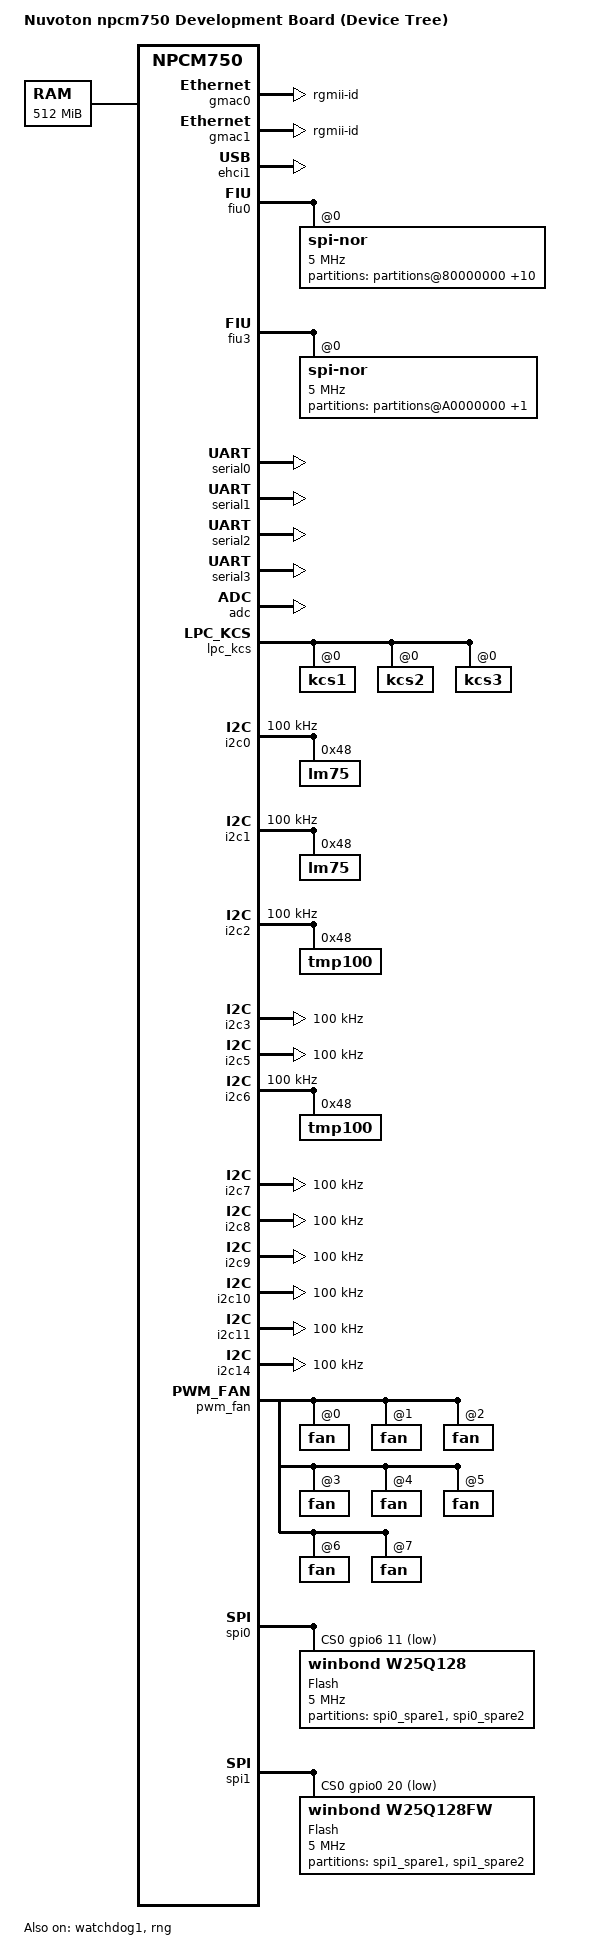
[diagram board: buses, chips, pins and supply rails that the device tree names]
// SPDX-License-Identifier: GPL-2.0
// Copyright (c) 2018 Nuvoton Technology tomer.maimon@nuvoton.com
// Copyright 2018 Google, Inc.

/dts-v1/;
#include "nuvoton-npcm750.dtsi"
#include "dt-bindings/gpio/gpio.h"
#include "nuvoton-npcm750-pincfg-evb.dtsi"

/ {
	model = "Nuvoton npcm750 Development Board (Device Tree)";
	compatible = "nuvoton,npcm750";

	aliases {
		ethernet2 = &gmac0;
		ethernet3 = &gmac1;
		serial0 = &serial0;
		serial1 = &serial1;
		serial2 = &serial2;
		serial3 = &serial3;
		i2c0 = &i2c0;
		i2c1 = &i2c1;
		i2c2 = &i2c2;
		i2c3 = &i2c3;
		i2c4 = &i2c4;
		i2c5 = &i2c5;
		i2c6 = &i2c6;
		i2c7 = &i2c7;
		i2c8 = &i2c8;
		i2c9 = &i2c9;
		i2c10 = &i2c10;
		i2c11 = &i2c11;
		i2c12 = &i2c12;
		i2c13 = &i2c13;
		i2c14 = &i2c14;
		i2c15 = &i2c15;
		spi0 = &spi0;
		spi1 = &spi1;
		fiu0 = &fiu0;
		fiu1 = &fiu3;
		fiu2 = &fiux;
	};

	chosen {
		stdout-path = &serial3;
	};

	memory {
		device_type = "memory";
		reg = <0x0 0x20000000>;
	};
};

&gmac0 {
	phy-mode = "rgmii-id";
	status = "okay";
};

&gmac1 {
	phy-mode = "rgmii-id";
	status = "okay";
};

&ehci1 {
	status = "okay";
};

&fiu0 {
	status = "okay";
	spi-nor@0 {
		compatible = "jedec,spi-nor";
		#address-cells = <1>;
		#size-cells = <1>;
		spi-rx-bus-width = <2>;
		reg = <0>;
		spi-max-frequency = <5000000>;
		partitions@80000000 {
			compatible = "fixed-partitions";
			#address-cells = <1>;
			#size-cells = <1>;
			bbuboot1@0 {
				label = "bb-uboot-1";
				reg = <0x0000000 0x80000>;
				read-only;
				};
			bbuboot2@80000 {
				label = "bb-uboot-2";
				reg = <0x0080000 0x80000>;
				read-only;
				};
			envparam@100000 {
				label = "env-param";
				reg = <0x0100000 0x40000>;
				read-only;
				};
			spare@140000 {
				label = "spare";
				reg = <0x0140000 0xC0000>;
				};
			kernel@200000 {
				label = "kernel";
				reg = <0x0200000 0x400000>;
				};
			rootfs@600000 {
				label = "rootfs";
				reg = <0x0600000 0x700000>;
				};
			spare1@D00000 {
				label = "spare1";
				reg = <0x0D00000 0x200000>;
				};
			spare2@0F00000 {
				label = "spare2";
				reg = <0x0F00000 0x200000>;
				};
			spare3@1100000 {
				label = "spare3";
				reg = <0x1100000 0x200000>;
				};
			spare4@1300000 {
				label = "spare4";
				reg = <0x1300000 0x0>;
			};
		};
	};
};

&fiu3 {
	pinctrl-0 = <&spi3_pins>, <&spi3quad_pins>;
	status = "okay";
	spi-nor@0 {
		compatible = "jedec,spi-nor";
		#address-cells = <1>;
		#size-cells = <1>;
		spi-rx-bus-width = <2>;
		reg = <0>;
		spi-max-frequency = <5000000>;
		partitions@A0000000 {
			compatible = "fixed-partitions";
			#address-cells = <1>;
			#size-cells = <1>;
			system1@0 {
				label = "spi3-system1";
				reg = <0x0 0x0>;
			};
		};
	};
};

&fiux {
	spix-mode;
};

&watchdog1 {
	status = "okay";
};

&rng {
	status = "okay";
};

&serial0 {
	status = "okay";
};

&serial1 {
	status = "okay";
};

&serial2 {
	status = "okay";
};

&serial3 {
	status = "okay";
};

&adc {
	status = "okay";
};

&lpc_kcs {
	kcs1: kcs1@0 {
		status = "okay";
	};

	kcs2: kcs2@0 {
		status = "okay";
	};

	kcs3: kcs3@0 {
		status = "okay";
	};
};

/* lm75 on SVB */
&i2c0 {
	clock-frequency = <100000>;
	status = "okay";
	lm75@48 {
		compatible = "lm75";
		reg = <0x48>;
		status = "okay";
	};
};

/* lm75 on EB */
&i2c1 {
	clock-frequency = <100000>;
	status = "okay";
	lm75@48 {
		compatible = "lm75";
		reg = <0x48>;
		status = "okay";
	};
};

/* tmp100 on EB */
&i2c2 {
	clock-frequency = <100000>;
	status = "okay";
	tmp100@48 {
		compatible = "tmp100";
		reg = <0x48>;
		status = "okay";
	};
};

&i2c3 {
	clock-frequency = <100000>;
	status = "okay";
};

&i2c5 {
	clock-frequency = <100000>;
	status = "okay";
};

/* tmp100 on SVB */
&i2c6 {
	clock-frequency = <100000>;
	status = "okay";
	tmp100@48 {
		compatible = "tmp100";
		reg = <0x48>;
		status = "okay";
	};
};

&i2c7 {
	clock-frequency = <100000>;
	status = "okay";
};

&i2c8 {
	clock-frequency = <100000>;
	status = "okay";
};

&i2c9 {
	clock-frequency = <100000>;
	status = "okay";
};

&i2c10 {
	clock-frequency = <100000>;
	status = "okay";
};

&i2c11 {
	clock-frequency = <100000>;
	status = "okay";
};

&i2c14 {
	clock-frequency = <100000>;
	status = "okay";
};

&pwm_fan {
	status = "okay";
	fan@0 {
		reg = <0x00>;
		fan-tach-ch = /bits/ 8 <0x00 0x01>;
		cooling-levels = <127 255>;
	};
	fan@1 {
		reg = <0x01>;
		fan-tach-ch = /bits/ 8 <0x02 0x03>;
		cooling-levels = /bits/ 8 <127 255>;
	};
	fan@2 {
		reg = <0x02>;
		fan-tach-ch = /bits/ 8 <0x04 0x05>;
		cooling-levels = /bits/ 8 <127 255>;
	};
	fan@3 {
		reg = <0x03>;
		fan-tach-ch = /bits/ 8 <0x06 0x07>;
		cooling-levels = /bits/ 8 <127 255>;
	};
	fan@4 {
		reg = <0x04>;
		fan-tach-ch = /bits/ 8 <0x08 0x09>;
		cooling-levels = /bits/ 8 <127 255>;
	};
	fan@5 {
		reg = <0x05>;
		fan-tach-ch = /bits/ 8 <0x0A 0x0B>;
		cooling-levels = /bits/ 8 <127 255>;
	};
	fan@6 {
		reg = <0x06>;
		fan-tach-ch = /bits/ 8 <0x0C 0x0D>;
		cooling-levels = /bits/ 8 <127 255>;
	};
	fan@7 {
		reg = <0x07>;
		fan-tach-ch = /bits/ 8 <0x0E 0x0F>;
		cooling-levels = /bits/ 8 <127 255>;
	};
};

&spi0 {
	cs-gpios = <&gpio6 11 GPIO_ACTIVE_LOW>;
	status = "okay";
	Flash@0 {
		compatible = "winbond,w25q128",
		"jedec,spi-nor";
		reg = <0x0>;
		#address-cells = <1>;
		#size-cells = <1>;
		spi-max-frequency = <5000000>;
		partition@0 {
			label = "spi0_spare1";
			reg = <0x0000000 0x800000>;
		};
		partition@1 {
			label = "spi0_spare2";
			reg = <0x800000 0x0>;
		};
	};
};

&spi1 {
	cs-gpios = <&gpio0 20 GPIO_ACTIVE_LOW>;
	status = "okay";
	Flash@0 {
		compatible = "winbond,w25q128fw",
		"jedec,spi-nor";
		reg = <0x0>;
		#address-cells = <1>;
		#size-cells = <1>;
		spi-max-frequency = <5000000>;
		partition@0 {
			label = "spi1_spare1";
			reg = <0x0000000 0x800000>;
		};
		partition@1 {
			label = "spi1_spare2";
			reg = <0x800000 0x0>;
		};
	};
};

&pinctrl {
	pinctrl-names = "default";
	pinctrl-0 = <	&iox1_pins
			&pin8_input
			&pin9_output_high
			&pin10_input
			&pin11_output_high
			&pin16_input
			&pin24_output_high
			&pin25_output_low
			&pin32_output_high
			&jtag2_pins
			&pin61_output_high
			&pin62_output_high
			&pin63_output_high
			&lpc_pins
			&pin160_input
			&pin162_input
			&pin168_input
			&pin169_input
			&pin170_input
			&pin187_output_high
			&pin190_input
			&pin191_output_high
			&pin192_output_high
			&pin197_output_low
			&ddc_pins
			&pin218_input
			&pin219_output_low
			&pin220_output_low
			&pin221_output_high
			&pin222_input
			&pin223_output_low
			&spix_pins
			&pin228_output_low
			&pin231_output_high
			&pin255_input>;
};

